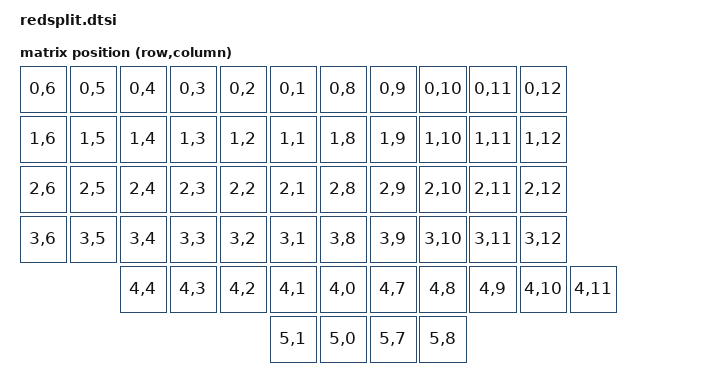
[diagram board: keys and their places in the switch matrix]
#include <dt-bindings/zmk/matrix_transform.h>
#include "./redsplit-layout.dtsi"
// #include <behaviors/input_processor_gestures.dtsi>
// #include <behaviors/input_processor_absolute_to_relative.dtsi>

/ {
 	chosen {
		zmk,kscan = &default_kscan;
 	};

  split_inputs {
    #address-cells = <1>;
    #size-cells = <0>;

    glidepoint_split: glidepoint_split@0 {
        compatible = "zmk,input-split";
        reg = <0>;
    };
  };

  glidepoint_listener: glidepoint_listener {
      compatible = "zmk,input-listener";
      status = "disabled";
      device = <&glidepoint_split>;
  };

  default_transform: matrix_transform {
      compatible = "zmk,matrix-transform";
      rows = <6>;
      columns = <13>;

      // Left
      //         RC(0,1) RC(0,2) RC(0,3) RC(0,4) RC(0,5) RC(0,6)
      //         RC(1,1) RC(1,2) RC(1,3) RC(1,4) RC(1,5) RC(1,6)
      //         RC(2,1) RC(2,2) RC(2,3) RC(2,4) RC(2,5) RC(2,6)
      //         RC(3,1) RC(3,2) RC(3,3) RC(3,4) RC(3,5) RC(3,6) 
      // RC(4,0) RC(4,1) RC(4,2) RC(4,3) RC(4,4)
      // RC(5,0) RC(5,1)

      // each half is shown from its front
      map = <
          RC(0,6) RC(0,5) RC(0,4) RC(0,3) RC(0,2) RC(0,1)                      RC(0,8) RC(0,9) RC(0,10) RC(0,11) RC(0,12)
          RC(1,6) RC(1,5) RC(1,4) RC(1,3) RC(1,2) RC(1,1)                      RC(1,8) RC(1,9) RC(1,10) RC(1,11) RC(1,12)
          RC(2,6) RC(2,5) RC(2,4) RC(2,3) RC(2,2) RC(2,1)                      RC(2,8) RC(2,9) RC(2,10) RC(2,11) RC(2,12)
          RC(3,6) RC(3,5) RC(3,4) RC(3,3) RC(3,2) RC(3,1)                      RC(3,8) RC(3,9) RC(3,10) RC(3,11) RC(3,12)
                          RC(4,4) RC(4,3) RC(4,2) RC(4,1) RC(4,0)      RC(4,7) RC(4,8) RC(4,9) RC(4,10) RC(4,11)
                                                  RC(5,1) RC(5,0)      RC(5,7) RC(5,8)
      >;
  };
};
